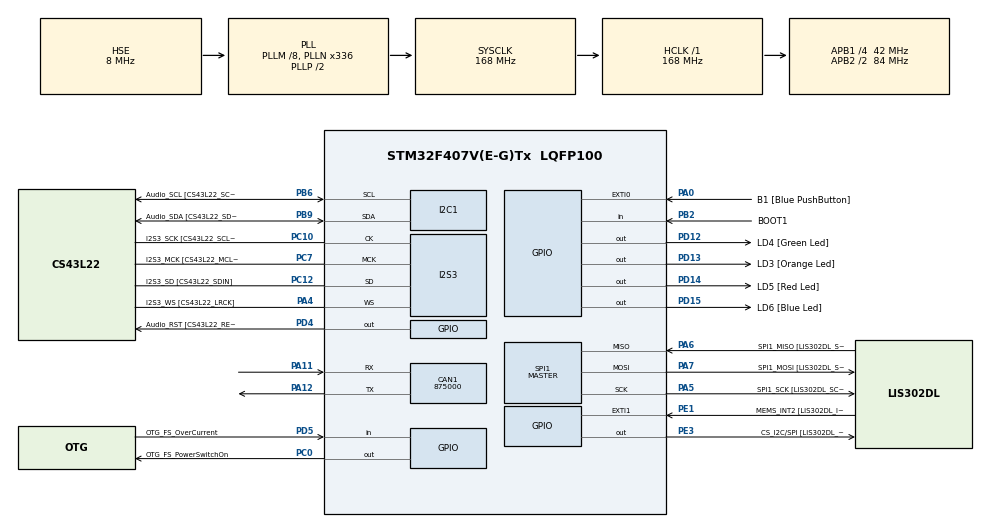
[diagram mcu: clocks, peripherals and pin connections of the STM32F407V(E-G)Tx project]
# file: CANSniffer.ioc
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CAN1.CalculateBaudRate=875000
CAN1.CalculateTimeBit=1142
CAN1.CalculateTimeQuantum=380.95238095238096
I2S3.AudioFreq-Half_Duplex_Master=I2S_AUDIOFREQ_96K
I2S3.ErrorAudioFreq=-2.34 %
I2S3.ErrorAudioFreq-Half_Duplex_Master=0.8 %
I2S3.FullDuplexMode=I2S_FULLDUPLEXMODE_DISABLE
I2S3.Instance=SPI$Index
I2S3.RealAudioFreq=93.75 KHz
I2S3.RealAudioFreq-Half_Duplex_Master=96.774 KHz
I2S3.VirtualMode=I2S_MODE_MASTER
Mcu.Family=STM32F4
Mcu.Name=STM32F407V(E-G)Tx
Mcu.Package=LQFP100
NVIC.CAN1_RX0_IRQn=true\:0\:0\:false\:false\:true\:true\:true\:true
NVIC.CAN1_RX1_IRQn=true\:0\:0\:false\:false\:true\:true\:true\:true
NVIC.CAN1_TX_IRQn=true\:0\:0\:false\:false\:true\:true\:true\:true
NVIC.PriorityGroup=NVIC_PRIORITYGROUP_0
PA0-WKUP.GPIO_Label=B1 [Blue PushButton]
PA0-WKUP.GPIO_ModeDefaultEXTI=GPIO_MODE_EVT_RISING
PA0-WKUP.GPIO_PuPd=GPIO_NOPULL
PA0-WKUP.Signal=GPXTI0
PA11.Mode=CAN_Activate
PA11.Signal=CAN1_RX
PA12.Mode=CAN_Activate
PA12.Signal=CAN1_TX
PA13.GPIO_Label=SWDIO
PA13.Mode=Serial_Wire
PA13.Signal=SYS_JTMS-SWDIO
PA14.GPIO_Label=SWCLK
PA14.Mode=Serial_Wire
PA14.Signal=SYS_JTCK-SWCLK
PA4.GPIO_Label=I2S3_WS [CS43L22_LRCK]
PA4.GPIO_Mode=GPIO_MODE_AF_PP
PA4.GPIO_PuPd=GPIO_NOPULL
PA4.GPIO_Speed=GPIO_SPEED_FREQ_LOW
PA4.Mode=Half_Duplex_Master
PA4.Signal=I2S3_WS
PA5.GPIO_Label=SPI1_SCK [LIS302DL_SCL/SPC]
PA5.GPIO_Mode=GPIO_MODE_AF_PP
PA5.GPIO_PuPd=GPIO_NOPULL
PA5.GPIO_Speed=GPIO_SPEED_FREQ_LOW
PA5.Mode=Full_Duplex_Master
PA5.Signal=SPI1_SCK
PA6.GPIO_Label=SPI1_MISO [LIS302DL_SDO]
PA6.GPIO_Mode=GPIO_MODE_AF_PP
PA6.GPIO_PuPd=GPIO_NOPULL
PA6.GPIO_Speed=GPIO_SPEED_FREQ_LOW
PA6.Mode=Full_Duplex_Master
PA6.Signal=SPI1_MISO
PA7.GPIO_Label=SPI1_MOSI [LIS302DL_SDA/SDI/SDO]
PA7.GPIO_Mode=GPIO_MODE_AF_PP
PA7.GPIO_PuPd=GPIO_NOPULL
PA7.GPIO_Speed=GPIO_SPEED_FREQ_LOW
PA7.Mode=Full_Duplex_Master
PA7.Signal=SPI1_MOSI
PB10.GPIO_Label=CLK_IN [MP45DT02_CLK]
PB10.GPIO_Mode=GPIO_MODE_AF_PP
PB10.GPIO_PuPd=GPIO_NOPULL
PB10.GPIO_Speed=GPIO_SPEED_FREQ_LOW
PB10.Signal=I2S2_CK
PB2.GPIO_Label=BOOT1
PB2.GPIO_Mode=GPIO_MODE_INPUT
PB2.GPIO_PuPd=GPIO_NOPULL
PB2.Signal=GPIO_Input
PB3.GPIO_Label=SWO
PB3.Signal=SYS_JTDO-SWO
PB6.GPIO_Label=Audio_SCL [CS43L22_SCL]
PB6.GPIO_Mode=GPIO_MODE_AF_OD
PB6.GPIO_Pu=GPIO_PULLUP
PB6.GPIO_PuPd=GPIO_NOPULL
PB6.GPIO_Speed=GPIO_SPEED_FREQ_LOW
PB6.Mode=I2C
PB6.Signal=I2C1_SCL
PB9.GPIO_Label=Audio_SDA [CS43L22_SDA]
PB9.GPIO_Mode=GPIO_MODE_AF_OD
PB9.GPIO_Pu=GPIO_PULLUP
PB9.GPIO_PuPd=GPIO_NOPULL
PB9.GPIO_Speed=GPIO_SPEED_FREQ_LOW
PB9.Mode=I2C
PB9.Signal=I2C1_SDA
PC0.GPIO_Label=OTG_FS_PowerSwitchOn
PC0.GPIO_PuPd=GPIO_NOPULL
PC0.GPIO_Speed=GPIO_SPEED_FREQ_LOW
PC0.PinState=GPIO_PIN_SET
PC0.Signal=GPIO_Output
PC10.GPIO_Label=I2S3_SCK [CS43L22_SCLK]
PC10.GPIO_Mode=GPIO_MODE_AF_PP
PC10.GPIO_PuPd=GPIO_NOPULL
PC10.GPIO_Speed=GPIO_SPEED_FREQ_LOW
PC10.Mode=Half_Duplex_Master
PC10.Signal=I2S3_CK
PC12.GPIO_Label=I2S3_SD [CS43L22_SDIN]
PC12.GPIO_Mode=GPIO_MODE_AF_PP
PC12.GPIO_PuPd=GPIO_NOPULL
PC12.GPIO_Speed=GPIO_SPEED_FREQ_LOW
PC12.Mode=Half_Duplex_Master
PC12.Signal=I2S3_SD
PC14-OSC32_IN.GPIO_Label=PC14-OSC32_IN
PC14-OSC32_IN.Mode=LSE-External-Oscillator
PC14-OSC32_IN.Signal=RCC_OSC32_IN
PC15-OSC32_OUT.GPIO_Label=PC15-OSC32_OUT
PC15-OSC32_OUT.Mode=LSE-External-Oscillator
PC15-OSC32_OUT.Signal=RCC_OSC32_OUT
PC3.GPIO_Label=PDM_OUT [MP45DT02_DOUT]
PC3.GPIO_Mode=GPIO_MODE_AF_PP
PC3.GPIO_PuPd=GPIO_NOPULL
PC3.GPIO_Speed=GPIO_SPEED_FREQ_LOW
PC3.Signal=I2S2_SD
PC7.GPIO_Label=I2S3_MCK [CS43L22_MCLK]
PC7.GPIO_Mode=GPIO_MODE_AF_PP
PC7.GPIO_PuPd=GPIO_NOPULL
PC7.GPIO_Speed=GPIO_SPEED_FREQ_LOW
PC7.Mode=Master_Clock_Activated
PC7.Signal=I2S3_MCK
PD12.GPIO_Label=LD4 [Green Led]
PD12.GPIO_PuPd=GPIO_NOPULL
PD12.GPIO_Speed=GPIO_SPEED_FREQ_LOW
PD12.Signal=GPIO_Output
PD13.GPIO_Label=LD3 [Orange Led]
PD13.GPIO_PuPd=GPIO_NOPULL
PD13.GPIO_Speed=GPIO_SPEED_FREQ_LOW
PD13.Signal=GPIO_Output
PD14.GPIO_Label=LD5 [Red Led]
PD14.GPIO_PuPd=GPIO_NOPULL
PD14.GPIO_Speed=GPIO_SPEED_FREQ_LOW
PD14.Signal=GPIO_Output
PD15.GPIO_Label=LD6 [Blue Led]
PD15.GPIO_PuPd=GPIO_NOPULL
PD15.GPIO_Speed=GPIO_SPEED_FREQ_LOW
PD15.Signal=GPIO_Output
PD4.GPIO_Label=Audio_RST [CS43L22_RESET]
PD4.GPIO_PuPd=GPIO_NOPULL
PD4.GPIO_Speed=GPIO_SPEED_FREQ_LOW
PD4.Signal=GPIO_Output
PD5.GPIO_Label=OTG_FS_OverCurrent
PD5.GPIO_Mode=GPIO_MODE_INPUT
PD5.GPIO_PuPd=GPIO_NOPULL
PD5.Signal=GPIO_Input
PE1.GPIO_Label=MEMS_INT2 [LIS302DL_INT2]
PE1.GPIO_ModeDefaultEXTI=GPIO_MODE_EVT_RISING
PE1.GPIO_PuPd=GPIO_NOPULL
PE1.Signal=GPXTI1
PE3.GPIO_Label=CS_I2C/SPI [LIS302DL_CS_I2C/SPI]
PE3.GPIO_PuPd=GPIO_NOPULL
PE3.GPIO_Speed=GPIO_SPEED_FREQ_LOW
PE3.Signal=GPIO_Output
PH0-OSC_IN.GPIO_Label=PH0-OSC_IN
PH0-OSC_IN.Mode=HSE-External-Oscillator
PH0-OSC_IN.Signal=RCC_OSC_IN
PH1-OSC_OUT.GPIO_Label=PH1-OSC_OUT
PH1-OSC_OUT.Mode=HSE-External-Oscillator
PH1-OSC_OUT.Signal=RCC_OSC_OUT
ProjectManager.HeapSize=0x200
ProjectManager.StackSize=0x400
ProjectManager.TargetToolchain=STM32CubeIDE
RCC.48MHZClocksFreq_Value=48000000
RCC.AHBFreq_Value=168000000
RCC.APB1CLKDivider=RCC_HCLK_DIV4
RCC.APB1Freq_Value=42000000
RCC.APB1TimFreq_Value=84000000
RCC.APB2CLKDivider=RCC_HCLK_DIV2
RCC.APB2Freq_Value=84000000
RCC.APB2TimFreq_Value=168000000
RCC.CortexFreq_Value=168000000
RCC.HCLKFreq_Value=168000000
RCC.HSE_VALUE=8000000
RCC.HSI_VALUE=16000000
RCC.PLLM=8
RCC.PLLN=336
RCC.PLLQ=7
RCC.PLLSourceVirtual=RCC_PLLSOURCE_HSE
RCC.SYSCLKFreq_VALUE=168000000
RCC.SYSCLKSource=RCC_SYSCLKSOURCE_PLLCLK
RCC.VCOOutputFreq_Value=336000000
SPI1.BaudRatePrescaler-Full_Duplex_Master=SPI_BAUDRATEPRESCALER_2
SPI1.CalculateBaudRate-Full_Duplex_Master=42.0 MBits/s
SPI1.Direction=SPI_DIRECTION_2LINES
SPI1.Mode=SPI_MODE_MASTER
SPI1.Mode-Full_Duplex_Master=SPI_MODE_MASTER
SPI1.VirtualType=VM_MASTER
board=STM32F407G-DISC1

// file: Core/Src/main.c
/* USER CODE BEGIN Header */
/**
  ******************************************************************************
  * @file           : main.c
  * @brief          : Main program body
  ******************************************************************************
  * @attention
  *
  * Copyright (c) 2024 STMicroelectronics.
  * All rights reserved.
  *
  * This software is licensed under terms that can be found in the LICENSE file
  * in the root directory of this software component.
  * If no LICENSE file comes with this software, it is provided AS-IS.
  *
  ******************************************************************************
  */
/* USER CODE END Header */
#include "main.h"

CAN_HandleTypeDef hcan1;

I2C_HandleTypeDef hi2c1;

I2S_HandleTypeDef hi2s3;

SPI_HandleTypeDef hspi1;

void SystemClock_Config(void);
static void MX_GPIO_Init(void);
static void MX_CAN1_Init(void);
static void MX_I2C1_Init(void);
static void MX_I2S3_Init(void);
static void MX_SPI1_Init(void);

int main(void)
{

  /* MCU Configuration--------------------------------------------------------*/

  /* Reset of all peripherals, Initializes the Flash interface and the Systick. */
  HAL_Init();

  /* Configure the system clock */
  SystemClock_Config();

  /* Initialize all configured peripherals */
  MX_GPIO_Init();
  MX_CAN1_Init();
  MX_I2C1_Init();
  MX_I2S3_Init();
  MX_SPI1_Init();

  /* Infinite loop */
  while (1)
  {
	  Send_CAN_Message();
	  Receive_CAN_Message();
	  HAL_Delay(1000);          // 1-second delay
  }
}

void SystemClock_Config(void)
{
  RCC_OscInitTypeDef RCC_OscInitStruct = {0};
  RCC_ClkInitTypeDef RCC_ClkInitStruct = {0};

  /** Configure the main internal regulator output voltage
  */
  __HAL_RCC_PWR_CLK_ENABLE();
  __HAL_PWR_VOLTAGESCALING_CONFIG(PWR_REGULATOR_VOLTAGE_SCALE1);

  /** Initializes the RCC Oscillators according to the specified parameters
  * in the RCC_OscInitTypeDef structure.
  */
  RCC_OscInitStruct.OscillatorType = RCC_OSCILLATORTYPE_HSE;
  RCC_OscInitStruct.HSEState = RCC_HSE_ON;
  RCC_OscInitStruct.PLL.PLLState = RCC_PLL_ON;
  RCC_OscInitStruct.PLL.PLLSource = RCC_PLLSOURCE_HSE;
  RCC_OscInitStruct.PLL.PLLM = 8;
  RCC_OscInitStruct.PLL.PLLN = 336;
  RCC_OscInitStruct.PLL.PLLP = RCC_PLLP_DIV2;
  RCC_OscInitStruct.PLL.PLLQ = 7;
  if (HAL_RCC_OscConfig(&RCC_OscInitStruct) != HAL_OK)
  {
    Error_Handler();
  }

  /** Initializes the CPU, AHB and APB buses clocks
  */
  RCC_ClkInitStruct.ClockType = RCC_CLOCKTYPE_HCLK|RCC_CLOCKTYPE_SYSCLK
                              |RCC_CLOCKTYPE_PCLK1|RCC_CLOCKTYPE_PCLK2;
  RCC_ClkInitStruct.SYSCLKSource = RCC_SYSCLKSOURCE_PLLCLK;
  RCC_ClkInitStruct.AHBCLKDivider = RCC_SYSCLK_DIV1;
  RCC_ClkInitStruct.APB1CLKDivider = RCC_HCLK_DIV4;
  RCC_ClkInitStruct.APB2CLKDivider = RCC_HCLK_DIV2;

  if (HAL_RCC_ClockConfig(&RCC_ClkInitStruct, FLASH_LATENCY_5) != HAL_OK)
  {
    Error_Handler();
  }
}

static void MX_CAN1_Init(void)
{

  /* USER CODE BEGIN CAN1_Init 0 */
	if (HAL_CAN_Start(&hcan1) != HAL_OK)
	{
	    Error_Handler();
	}

  /* USER CODE END CAN1_Init 0 */

  hcan1.Instance = CAN1;
  hcan1.Init.Prescaler = 16;
  hcan1.Init.Mode = CAN_MODE_NORMAL;
  hcan1.Init.SyncJumpWidth = CAN_SJW_1TQ;
  hcan1.Init.TimeSeg1 = CAN_BS1_1TQ;
  hcan1.Init.TimeSeg2 = CAN_BS2_1TQ;
  hcan1.Init.TimeTriggeredMode = DISABLE;
  hcan1.Init.AutoBusOff = DISABLE;
  hcan1.Init.AutoWakeUp = DISABLE;
  hcan1.Init.AutoRetransmission = DISABLE;
  hcan1.Init.ReceiveFifoLocked = DISABLE;
  hcan1.Init.TransmitFifoPriority = DISABLE;
  if (HAL_CAN_Init(&hcan1) != HAL_OK)
  {
    Error_Handler();
  }
  /* USER CODE BEGIN CAN1_Init 2 */
  CAN_FilterTypeDef sFilterConfig;

    sFilterConfig.FilterBank = 0; // Filter bank number
    sFilterConfig.FilterMode = CAN_FILTERMODE_IDMASK; // ID/mask mode
    sFilterConfig.FilterScale = CAN_FILTERSCALE_32BIT; // 32-bit scale
    sFilterConfig.FilterIdHigh = 0x0000; // High bits of filter ID
    sFilterConfig.FilterIdLow = 0x0000; // Low bits of filter ID
    sFilterConfig.FilterMaskIdHigh = 0x0000; // High bits of filter mask
    sFilterConfig.FilterMaskIdLow = 0x0000; // Low bits of filter mask
    sFilterConfig.FilterFIFOAssignment = CAN_FILTER_FIFO0; // Assign to FIFO 0
    sFilterConfig.FilterActivation = ENABLE; // Activate filter
    if (HAL_CAN_Start(&hcan1) != HAL_OK)
    {
        Error_Handler();
    }
    if (HAL_CAN_ConfigFilter(&hcan1, &sFilterConfig) != HAL_OK)
       {
           Error_Handler();
       }
    // Start CAN

    while (1)
    {
  	  Send_CAN_Message();
  	  Receive_CAN_Message();
  	  HAL_Delay(1000); // 1-second delay
    }

  /* USER CODE END CAN1_Init 2 */

}
void Send_CAN_Message(void)
{
    CAN_TxHeaderTypeDef TxHeader;
    uint32_t TxMailbox;
    uint8_t TxData[8] = {0x11, 0x22, 0x33, 0x44, 0x55, 0x66, 0x77, 0x88};

    TxHeader.DLC = 8;
    TxHeader.StdId = 0x123;
    TxHeader.ExtId = 0x01;  // Extended CAN ID
    TxHeader.IDE = CAN_ID_STD;
    TxHeader.RTR = CAN_RTR_DATA;

    if (HAL_CAN_AddTxMessage(&hcan1, &TxHeader, TxData, &TxMailbox) != HAL_OK)
    {
        Error_Handler();
    }
}
void Receive_CAN_Message(void)
{
    CAN_RxHeaderTypeDef RxHeader;
    uint8_t RxData[8];

    if (HAL_CAN_GetRxMessage(&hcan1, CAN_RX_FIFO0, &RxHeader, RxData) == HAL_OK)
    {
        //printf("Received message: ID=0x%X, DLC=%d, Data=", RxHeader.StdId, RxHeader.DLC);
        for (int i = 0; i < RxHeader.DLC; i++)
        {
            printf("%02X ", RxData[i]);
        }
        printf("\n");
    }
}

static void MX_I2C1_Init(void)
{

  hi2c1.Instance = I2C1;
  hi2c1.Init.ClockSpeed = 100000;
  hi2c1.Init.DutyCycle = I2C_DUTYCYCLE_2;
  hi2c1.Init.OwnAddress1 = 0;
  hi2c1.Init.AddressingMode = I2C_ADDRESSINGMODE_7BIT;
  hi2c1.Init.DualAddressMode = I2C_DUALADDRESS_DISABLE;
  hi2c1.Init.OwnAddress2 = 0;
  hi2c1.Init.GeneralCallMode = I2C_GENERALCALL_DISABLE;
  hi2c1.Init.NoStretchMode = I2C_NOSTRETCH_DISABLE;
  if (HAL_I2C_Init(&hi2c1) != HAL_OK)
  {
    Error_Handler();
  }

}

static void MX_I2S3_Init(void)
{

  hi2s3.Instance = SPI3;
  hi2s3.Init.Mode = I2S_MODE_MASTER_TX;
  hi2s3.Init.Standard = I2S_STANDARD_PHILIPS;
  hi2s3.Init.DataFormat = I2S_DATAFORMAT_16B;
  hi2s3.Init.MCLKOutput = I2S_MCLKOUTPUT_ENABLE;
  hi2s3.Init.AudioFreq = I2S_AUDIOFREQ_96K;
  hi2s3.Init.CPOL = I2S_CPOL_LOW;
  hi2s3.Init.ClockSource = I2S_CLOCK_PLL;
  hi2s3.Init.FullDuplexMode = I2S_FULLDUPLEXMODE_DISABLE;
  if (HAL_I2S_Init(&hi2s3) != HAL_OK)
  {
    Error_Handler();
  }

}

static void MX_SPI1_Init(void)
{

  /* SPI1 parameter configuration*/
  hspi1.Instance = SPI1;
  hspi1.Init.Mode = SPI_MODE_MASTER;
  hspi1.Init.Direction = SPI_DIRECTION_2LINES;
  hspi1.Init.DataSize = SPI_DATASIZE_8BIT;
  hspi1.Init.CLKPolarity = SPI_POLARITY_LOW;
  hspi1.Init.CLKPhase = SPI_PHASE_1EDGE;
  hspi1.Init.NSS = SPI_NSS_SOFT;
  hspi1.Init.BaudRatePrescaler = SPI_BAUDRATEPRESCALER_2;
  hspi1.Init.FirstBit = SPI_FIRSTBIT_MSB;
  hspi1.Init.TIMode = SPI_TIMODE_DISABLE;
  hspi1.Init.CRCCalculation = SPI_CRCCALCULATION_DISABLE;
  hspi1.Init.CRCPolynomial = 10;
  if (HAL_SPI_Init(&hspi1) != HAL_OK)
  {
    Error_Handler();
  }

}

static void MX_GPIO_Init(void)
{
  GPIO_InitTypeDef GPIO_InitStruct = {0};

  /* GPIO Ports Clock Enable */
  __HAL_RCC_GPIOE_CLK_ENABLE();
  __HAL_RCC_GPIOC_CLK_ENABLE();
  __HAL_RCC_GPIOH_CLK_ENABLE();
  __HAL_RCC_GPIOA_CLK_ENABLE();
  __HAL_RCC_GPIOB_CLK_ENABLE();
  __HAL_RCC_GPIOD_CLK_ENABLE();

  /*Configure GPIO pin Output Level */
  HAL_GPIO_WritePin(CS_I2C_SPI_GPIO_Port, CS_I2C_SPI_Pin, GPIO_PIN_RESET);

  /*Configure GPIO pin Output Level */
  HAL_GPIO_WritePin(OTG_FS_PowerSwitchOn_GPIO_Port, OTG_FS_PowerSwitchOn_Pin, GPIO_PIN_SET);

  /*Configure GPIO pin Output Level */
  HAL_GPIO_WritePin(GPIOD, LD4_Pin|LD3_Pin|LD5_Pin|LD6_Pin
                          |Audio_RST_Pin, GPIO_PIN_RESET);

  /*Configure GPIO pin : CS_I2C_SPI_Pin */
  GPIO_InitStruct.Pin = CS_I2C_SPI_Pin;
  GPIO_InitStruct.Mode = GPIO_MODE_OUTPUT_PP;
  GPIO_InitStruct.Pull = GPIO_NOPULL;
  GPIO_InitStruct.Speed = GPIO_SPEED_FREQ_LOW;
  HAL_GPIO_Init(CS_I2C_SPI_GPIO_Port, &GPIO_InitStruct);

  /*Configure GPIO pin : OTG_FS_PowerSwitchOn_Pin */
  GPIO_InitStruct.Pin = OTG_FS_PowerSwitchOn_Pin;
  GPIO_InitStruct.Mode = GPIO_MODE_OUTPUT_PP;
  GPIO_InitStruct.Pull = GPIO_NOPULL;
  GPIO_InitStruct.Speed = GPIO_SPEED_FREQ_LOW;
  HAL_GPIO_Init(OTG_FS_PowerSwitchOn_GPIO_Port, &GPIO_InitStruct);

  /*Configure GPIO pin : PDM_OUT_Pin */
  GPIO_InitStruct.Pin = PDM_OUT_Pin;
  GPIO_InitStruct.Mode = GPIO_MODE_AF_PP;
  GPIO_InitStruct.Pull = GPIO_NOPULL;
  GPIO_InitStruct.Speed = GPIO_SPEED_FREQ_LOW;
  GPIO_InitStruct.Alternate = GPIO_AF5_SPI2;
  HAL_GPIO_Init(PDM_OUT_GPIO_Port, &GPIO_InitStruct);

  /*Configure GPIO pin : B1_Pin */
  GPIO_InitStruct.Pin = B1_Pin;
  GPIO_InitStruct.Mode = GPIO_MODE_EVT_RISING;
  GPIO_InitStruct.Pull = GPIO_NOPULL;
  HAL_GPIO_Init(B1_GPIO_Port, &GPIO_InitStruct);

  /*Configure GPIO pin : BOOT1_Pin */
  GPIO_InitStruct.Pin = BOOT1_Pin;
  GPIO_InitStruct.Mode = GPIO_MODE_INPUT;
  GPIO_InitStruct.Pull = GPIO_NOPULL;
  HAL_GPIO_Init(BOOT1_GPIO_Port, &GPIO_InitStruct);

  /*Configure GPIO pin : CLK_IN_Pin */
  GPIO_InitStruct.Pin = CLK_IN_Pin;
  GPIO_InitStruct.Mode = GPIO_MODE_AF_PP;
  GPIO_InitStruct.Pull = GPIO_NOPULL;
  GPIO_InitStruct.Speed = GPIO_SPEED_FREQ_LOW;
  GPIO_InitStruct.Alternate = GPIO_AF5_SPI2;
  HAL_GPIO_Init(CLK_IN_GPIO_Port, &GPIO_InitStruct);

  /*Configure GPIO pins : LD4_Pin LD3_Pin LD5_Pin LD6_Pin
                           Audio_RST_Pin */
  GPIO_InitStruct.Pin = LD4_Pin|LD3_Pin|LD5_Pin|LD6_Pin
                          |Audio_RST_Pin;
  GPIO_InitStruct.Mode = GPIO_MODE_OUTPUT_PP;
  GPIO_InitStruct.Pull = GPIO_NOPULL;
  GPIO_InitStruct.Speed = GPIO_SPEED_FREQ_LOW;
  HAL_GPIO_Init(GPIOD, &GPIO_InitStruct);

  /*Configure GPIO pin : OTG_FS_OverCurrent_Pin */
  GPIO_InitStruct.Pin = OTG_FS_OverCurrent_Pin;
  GPIO_InitStruct.Mode = GPIO_MODE_INPUT;
  GPIO_InitStruct.Pull = GPIO_NOPULL;
  HAL_GPIO_Init(OTG_FS_OverCurrent_GPIO_Port, &GPIO_InitStruct);

  /*Configure GPIO pin : MEMS_INT2_Pin */
  GPIO_InitStruct.Pin = MEMS_INT2_Pin;
  GPIO_InitStruct.Mode = GPIO_MODE_EVT_RISING;
  GPIO_InitStruct.Pull = GPIO_NOPULL;
  HAL_GPIO_Init(MEMS_INT2_GPIO_Port, &GPIO_InitStruct);

}

void Error_Handler(void)
{
  /* USER CODE BEGIN Error_Handler_Debug */
  /* User can add his own implementation to report the HAL error return state */
  __disable_irq();
  while (1)
  {
	  HAL_GPIO_TogglePin(GPIOD, LD5_Pin); // Toggle a red LED to signal error
	  HAL_Delay(500);                    // 500 ms delay
  }
  /* USER CODE END Error_Handler_Debug */
}
